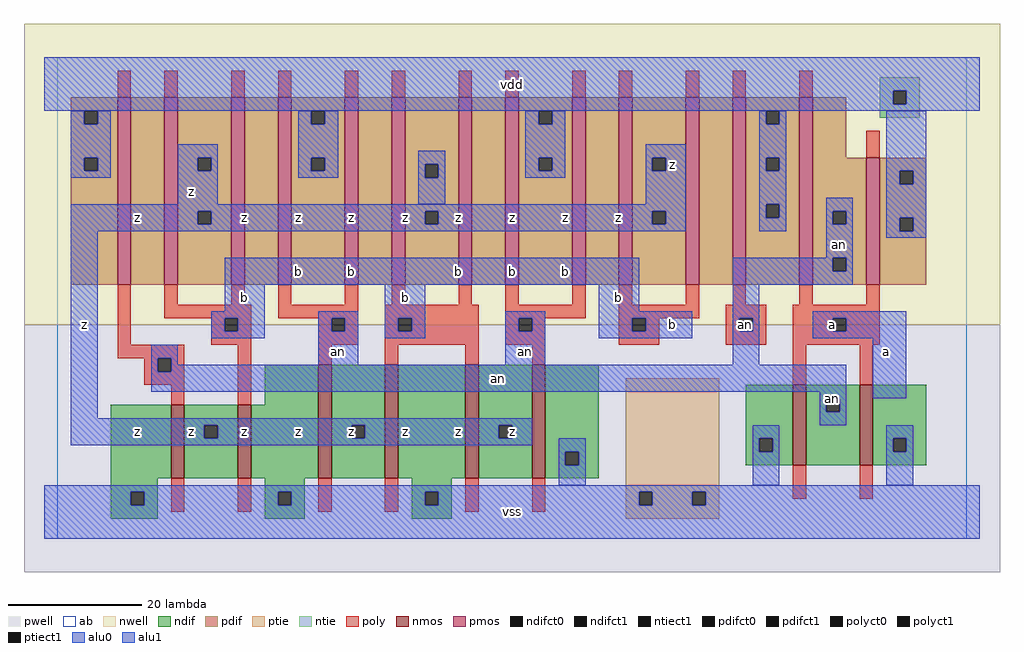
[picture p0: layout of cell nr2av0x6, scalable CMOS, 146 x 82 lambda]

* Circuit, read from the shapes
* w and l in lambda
.subckt nr2av0x6 a an b vdd vss z
M1 z an vss vss nfet w=11 l=2
M2 vss b z vss nfet w=11 l=2
M3 z an vss vss nfet w=17 l=2 m=2
M4 vss b z vss nfet w=17 l=2 m=2
M5 an a vss vss nfet w=12 l=2 m=2
M6 n1 an vdd vdd pfet w=28 l=2
M7 z b n1 vdd pfet w=28 l=2
M8 n2 b z vdd pfet w=28 l=2
M9 vdd an n2 vdd pfet w=28 l=2
M10 n3 an vdd vdd pfet w=28 l=2
M11 z b n3 vdd pfet w=28 l=2
M12 n4 b z vdd pfet w=28 l=2
M13 vdd an n4 vdd pfet w=28 l=2
M14 n5 an vdd vdd pfet w=28 l=2
M15 z b n5 vdd pfet w=28 l=2
M16 n6 b z vdd pfet w=28 l=2
M17 vdd an n6 vdd pfet w=28 l=2
M18 an a vdd vdd pfet w=28 l=2
M19 vdd a an vdd pfet w=19 l=2
.ends

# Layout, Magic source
magic
tech scmos
<< ab >>
rect 0 0 136 72
<< nwell >>
rect -5 32 141 77
<< pwell >>
rect -5 -5 141 32
<< poly >>
rect 9 66 11 70
rect 16 66 18 70
rect 26 66 28 70
rect 33 66 35 70
rect 43 66 45 70
rect 50 66 52 70
rect 60 66 62 70
rect 67 66 69 70
rect 77 66 79 70
rect 84 66 86 70
rect 94 66 96 70
rect 101 66 103 70
rect 111 66 113 70
rect 121 57 123 61
rect 9 29 11 38
rect 16 35 18 38
rect 26 35 28 38
rect 33 35 35 38
rect 43 35 45 38
rect 50 35 52 38
rect 60 35 62 38
rect 67 35 69 38
rect 77 35 79 38
rect 16 33 29 35
rect 33 33 45 35
rect 23 31 25 33
rect 27 31 29 33
rect 23 29 29 31
rect 9 27 19 29
rect 13 25 15 27
rect 17 25 19 27
rect 13 23 19 25
rect 17 20 19 23
rect 27 20 29 29
rect 39 31 41 33
rect 43 31 45 33
rect 39 29 45 31
rect 49 33 63 35
rect 49 31 51 33
rect 53 31 63 33
rect 49 29 63 31
rect 67 33 79 35
rect 84 35 86 38
rect 94 35 96 38
rect 101 35 103 38
rect 111 35 113 38
rect 121 35 123 38
rect 84 33 96 35
rect 100 33 106 35
rect 67 31 69 33
rect 71 31 73 33
rect 67 29 73 31
rect 84 31 86 33
rect 88 31 90 33
rect 84 29 90 31
rect 100 31 102 33
rect 104 31 106 33
rect 100 29 106 31
rect 110 33 123 35
rect 110 31 116 33
rect 118 31 123 33
rect 110 29 123 31
rect 39 26 41 29
rect 49 26 51 29
rect 61 26 63 29
rect 71 26 73 29
rect 17 4 19 9
rect 27 4 29 9
rect 39 4 41 9
rect 49 4 51 9
rect 61 4 63 9
rect 71 4 73 9
rect 110 23 112 29
rect 120 23 122 29
rect 110 6 112 11
rect 120 6 122 11
<< ndif >>
rect 31 20 39 26
rect 8 9 17 20
rect 19 17 27 20
rect 19 15 22 17
rect 24 15 27 17
rect 19 9 27 15
rect 29 9 39 20
rect 41 17 49 26
rect 41 15 44 17
rect 46 15 49 17
rect 41 9 49 15
rect 51 9 61 26
rect 63 17 71 26
rect 63 15 66 17
rect 68 15 71 17
rect 63 9 71 15
rect 73 13 81 26
rect 73 11 76 13
rect 78 11 81 13
rect 73 9 81 11
rect 8 7 15 9
rect 8 5 11 7
rect 13 5 15 7
rect 8 3 15 5
rect 31 7 37 9
rect 31 5 33 7
rect 35 5 37 7
rect 31 3 37 5
rect 53 7 59 9
rect 53 5 55 7
rect 57 5 59 7
rect 53 3 59 5
rect 103 15 110 23
rect 103 13 105 15
rect 107 13 110 15
rect 103 11 110 13
rect 112 21 120 23
rect 112 19 115 21
rect 117 19 120 21
rect 112 11 120 19
rect 122 15 130 23
rect 122 13 125 15
rect 127 13 130 15
rect 122 11 130 13
<< pdif >>
rect 2 64 9 66
rect 2 62 4 64
rect 6 62 9 64
rect 2 57 9 62
rect 2 55 4 57
rect 6 55 9 57
rect 2 38 9 55
rect 11 38 16 66
rect 18 57 26 66
rect 18 55 21 57
rect 23 55 26 57
rect 18 49 26 55
rect 18 47 21 49
rect 23 47 26 49
rect 18 38 26 47
rect 28 38 33 66
rect 35 64 43 66
rect 35 62 38 64
rect 40 62 43 64
rect 35 57 43 62
rect 35 55 38 57
rect 40 55 43 57
rect 35 38 43 55
rect 45 38 50 66
rect 52 56 60 66
rect 52 54 55 56
rect 57 54 60 56
rect 52 49 60 54
rect 52 47 55 49
rect 57 47 60 49
rect 52 38 60 47
rect 62 38 67 66
rect 69 64 77 66
rect 69 62 72 64
rect 74 62 77 64
rect 69 57 77 62
rect 69 55 72 57
rect 74 55 77 57
rect 69 38 77 55
rect 79 38 84 66
rect 86 57 94 66
rect 86 55 89 57
rect 91 55 94 57
rect 86 49 94 55
rect 86 47 89 49
rect 91 47 94 49
rect 86 38 94 47
rect 96 38 101 66
rect 103 64 111 66
rect 103 62 106 64
rect 108 62 111 64
rect 103 57 111 62
rect 103 55 106 57
rect 108 55 111 57
rect 103 50 111 55
rect 103 48 106 50
rect 108 48 111 50
rect 103 38 111 48
rect 113 57 118 66
rect 113 49 121 57
rect 113 47 116 49
rect 118 47 121 49
rect 113 42 121 47
rect 113 40 116 42
rect 118 40 121 42
rect 113 38 121 40
rect 123 55 130 57
rect 123 53 126 55
rect 128 53 130 55
rect 123 48 130 53
rect 123 46 126 48
rect 128 46 130 48
rect 123 38 130 46
<< alu1 >>
rect -2 67 138 72
rect -2 65 125 67
rect 127 65 138 67
rect -2 64 138 65
rect 18 57 24 59
rect 18 55 21 57
rect 23 55 24 57
rect 18 50 24 55
rect 88 57 94 59
rect 88 55 89 57
rect 91 55 94 57
rect 88 50 94 55
rect 2 49 94 50
rect 2 47 21 49
rect 23 47 55 49
rect 57 47 89 49
rect 91 47 94 49
rect 2 46 94 47
rect 2 18 6 46
rect 25 38 87 42
rect 25 34 31 38
rect 23 33 31 34
rect 23 31 25 33
rect 27 31 31 33
rect 23 30 31 31
rect 49 33 55 38
rect 81 34 87 38
rect 49 31 51 33
rect 53 31 55 33
rect 49 30 55 31
rect 81 33 95 34
rect 81 31 86 33
rect 88 31 95 33
rect 81 30 95 31
rect 113 33 127 34
rect 113 31 116 33
rect 118 31 127 33
rect 113 30 127 31
rect 122 21 127 30
rect 2 17 71 18
rect 2 15 22 17
rect 24 15 44 17
rect 46 15 66 17
rect 68 15 71 17
rect 2 14 71 15
rect -2 7 138 8
rect -2 5 11 7
rect 13 5 33 7
rect 35 5 55 7
rect 57 5 87 7
rect 89 5 95 7
rect 97 5 138 7
rect -2 0 138 5
<< ptie >>
rect 85 7 99 24
rect 85 5 87 7
rect 89 5 95 7
rect 97 5 99 7
rect 85 3 99 5
<< ntie >>
rect 123 67 129 69
rect 123 65 125 67
rect 127 65 129 67
rect 123 63 129 65
<< nmos >>
rect 17 9 19 20
rect 27 9 29 20
rect 39 9 41 26
rect 49 9 51 26
rect 61 9 63 26
rect 71 9 73 26
rect 110 11 112 23
rect 120 11 122 23
<< pmos >>
rect 9 38 11 66
rect 16 38 18 66
rect 26 38 28 66
rect 33 38 35 66
rect 43 38 45 66
rect 50 38 52 66
rect 60 38 62 66
rect 67 38 69 66
rect 77 38 79 66
rect 84 38 86 66
rect 94 38 96 66
rect 101 38 103 66
rect 111 38 113 66
rect 121 38 123 57
<< polyct0 >>
rect 15 25 17 27
rect 41 31 43 33
rect 69 31 71 33
rect 102 31 104 33
<< polyct1 >>
rect 25 31 27 33
rect 51 31 53 33
rect 86 31 88 33
rect 116 31 118 33
<< ndifct0 >>
rect 76 11 78 13
rect 105 13 107 15
rect 115 19 117 21
rect 125 13 127 15
<< ndifct1 >>
rect 22 15 24 17
rect 44 15 46 17
rect 66 15 68 17
rect 11 5 13 7
rect 33 5 35 7
rect 55 5 57 7
<< ntiect1 >>
rect 125 65 127 67
<< ptiect1 >>
rect 87 5 89 7
rect 95 5 97 7
<< pdifct0 >>
rect 4 62 6 64
rect 4 55 6 57
rect 38 62 40 64
rect 38 55 40 57
rect 55 54 57 56
rect 72 62 74 64
rect 72 55 74 57
rect 106 62 108 64
rect 106 55 108 57
rect 106 48 108 50
rect 116 47 118 49
rect 116 40 118 42
rect 126 53 128 55
rect 126 46 128 48
<< pdifct1 >>
rect 21 55 23 57
rect 21 47 23 49
rect 55 47 57 49
rect 89 55 91 57
rect 89 47 91 49
<< alu0 >>
rect 2 62 4 64
rect 6 62 8 64
rect 2 57 8 62
rect 36 62 38 64
rect 40 62 42 64
rect 2 55 4 57
rect 6 55 8 57
rect 2 54 8 55
rect 36 57 42 62
rect 70 62 72 64
rect 74 62 76 64
rect 36 55 38 57
rect 40 55 42 57
rect 36 54 42 55
rect 54 56 58 58
rect 54 54 55 56
rect 57 54 58 56
rect 70 57 76 62
rect 105 62 106 64
rect 108 62 109 64
rect 70 55 72 57
rect 74 55 76 57
rect 70 54 76 55
rect 54 50 58 54
rect 105 57 109 62
rect 105 55 106 57
rect 108 55 109 57
rect 105 50 109 55
rect 124 55 130 64
rect 124 53 126 55
rect 128 53 130 55
rect 105 48 106 50
rect 108 48 109 50
rect 105 46 109 48
rect 115 49 119 51
rect 115 47 116 49
rect 118 47 119 49
rect 115 42 119 47
rect 124 48 130 53
rect 124 46 126 48
rect 128 46 130 48
rect 124 45 130 46
rect 39 33 45 34
rect 39 31 41 33
rect 43 31 45 33
rect 14 27 18 29
rect 14 25 15 27
rect 17 26 18 27
rect 39 26 45 31
rect 101 40 116 42
rect 118 40 119 42
rect 101 38 119 40
rect 67 33 73 34
rect 67 31 69 33
rect 71 31 73 33
rect 67 26 73 31
rect 101 33 105 38
rect 101 31 102 33
rect 104 31 105 33
rect 101 26 105 31
rect 17 25 118 26
rect 14 22 118 25
rect 114 21 118 22
rect 114 19 115 21
rect 117 19 118 21
rect 114 17 118 19
rect 104 15 108 17
rect 75 13 79 15
rect 75 11 76 13
rect 78 11 79 13
rect 75 8 79 11
rect 104 13 105 15
rect 107 13 108 15
rect 104 8 108 13
rect 124 15 128 17
rect 124 13 125 15
rect 127 13 128 15
rect 124 8 128 13
<< labels >>
rlabel alu0 42 28 42 28 6 an
rlabel alu0 70 28 70 28 6 an
rlabel alu0 116 21 116 21 6 an
rlabel alu0 66 24 66 24 6 an
rlabel alu0 117 44 117 44 6 an
rlabel polyct0 103 32 103 32 6 an
rlabel alu1 12 16 12 16 6 z
rlabel alu1 20 16 20 16 6 z
rlabel alu1 4 32 4 32 6 z
rlabel alu1 20 52 20 52 6 z
rlabel alu1 12 48 12 48 6 z
rlabel alu1 36 16 36 16 6 z
rlabel alu1 44 16 44 16 6 z
rlabel alu1 28 16 28 16 6 z
rlabel alu1 28 36 28 36 6 b
rlabel alu1 36 40 36 40 6 b
rlabel alu1 44 40 44 40 6 b
rlabel alu1 28 48 28 48 6 z
rlabel alu1 36 48 36 48 6 z
rlabel alu1 44 48 44 48 6 z
rlabel alu1 68 4 68 4 6 vss
rlabel alu1 60 16 60 16 6 z
rlabel alu1 68 16 68 16 6 z
rlabel alu1 52 16 52 16 6 z
rlabel alu1 52 36 52 36 6 b
rlabel alu1 60 40 60 40 6 b
rlabel alu1 68 40 68 40 6 b
rlabel alu1 76 40 76 40 6 b
rlabel alu1 52 48 52 48 6 z
rlabel alu1 60 48 60 48 6 z
rlabel alu1 68 48 68 48 6 z
rlabel alu1 76 48 76 48 6 z
rlabel alu1 68 68 68 68 6 vdd
rlabel alu1 92 32 92 32 6 b
rlabel alu1 84 36 84 36 6 b
rlabel alu1 84 48 84 48 6 z
rlabel alu1 92 56 92 56 6 z
rlabel alu1 116 32 116 32 6 a
rlabel alu1 124 28 124 28 6 a
<< end >>
